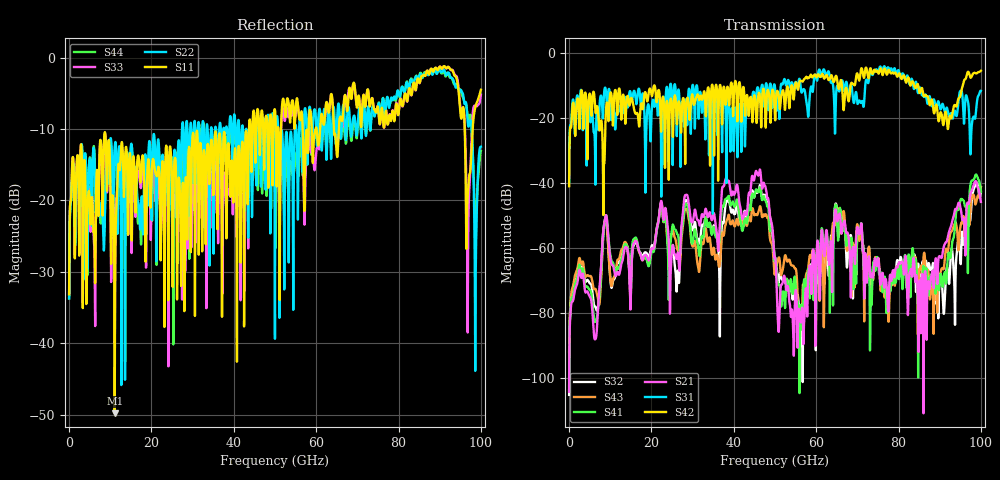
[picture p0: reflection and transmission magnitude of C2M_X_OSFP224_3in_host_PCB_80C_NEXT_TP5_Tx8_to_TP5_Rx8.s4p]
# GHz S RI R 45
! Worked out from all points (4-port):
!   4000 points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, 25 MHz to 100 GHz, reference 45 ohm
!   strongest paths, dB at 25 MHz, 25.02 GHz, 50.02 GHz, 75.03 GHz, 100 GHz:
!     S42: -40.9, -17.8, -20.6, -6.0, -5.4
!     S31: -39.7, -15.6, -10.6, -5.9, -11.5
!     S21: -104.2, -60.6, -62.8, -63.1, -45.7
!     S41: -100.5, -53.8, -63.2, -64.4, -42.6
!     S43: -92.0, -55.1, -67.5, -63.2, -41.1
!     S32: -105.1, -59.7, -64.2, -64.0, -42.6
!   lowest |S11| = -49.8 dB at 11.1 GHz (marker M1), VSWR 1.01, Z = 44.9 + j0.285 ohm
!   |S11| at or under -10 dB: start of sweep to 43.7 GHz; 56.74 GHz to 58.18 GHz (1.445 GHz wide, 2.51 % of centre); 96.08 GHz to 98 GHz (1.925 GHz wide, 1.98 % of centre)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
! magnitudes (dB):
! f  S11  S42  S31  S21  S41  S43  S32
! 25 MHz  -33.1  -40.9  -39.7  -104.2  -100.5  -92.0  -105.1
! 11.1 GHz  -49.8  -11.8  -21.6  -67.7  -66.6  -68.4  -69.2
! 46.2 GHz  -11.2  -12.2  -13.0  -36.5  -41.9  -47.9  -41.2
! 54.27 GHz  -6.0  -11.0  -9.4  -80.6  -74.0  -65.3  -75.8
! 64.75 GHz  -11.4  -7.0  -15.6  -48.1  -46.6  -51.9  -46.2
! 90.97 GHz  -1.2  -21.6  -16.7  -59.7  -68.8  -66.3  -80.1
! 100 GHz  -4.5  -5.4  -11.5  -45.7  -42.6  -41.1  -42.6
